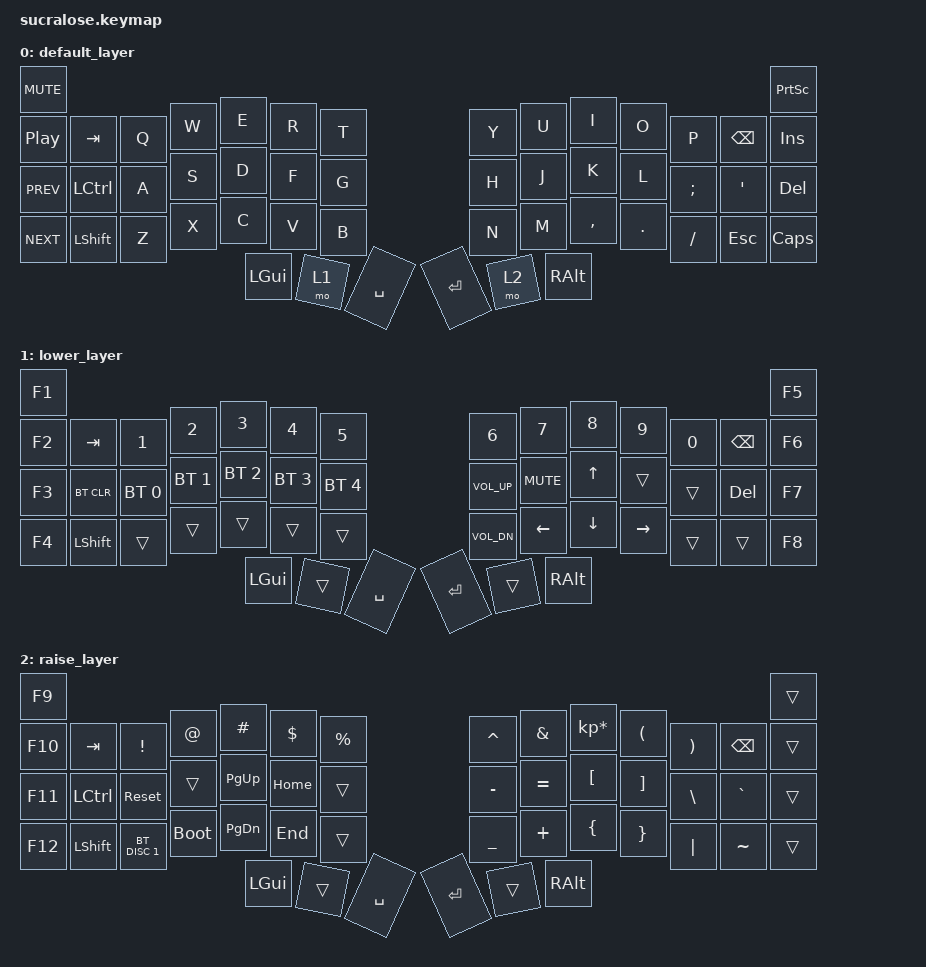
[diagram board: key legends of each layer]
/*
 * Copyright (c) 2026 The ZMK Contributors
 *
 * SPDX-License-Identifier: MIT
 */

#include <behaviors.dtsi>
#include <dt-bindings/zmk/keys.h>
#include <dt-bindings/zmk/bt.h>

/ {
        keymap {
                compatible = "zmk,keymap";

                default_layer {
// -----------------------------------------------------------------------------------------
// | MUTE |                                                                              | PSCR |
// | PLAY |  TAB |  Q  |  W  |  E  |  R  |  T  |   |  Y  |  U   |  I  |  O  |  P  | BKSP | INS  |
// | PREV | CTRL |  A  |  S  |  D  |  F  |  G  |   |  H  |  J   |  K  |  L  |  ;  |  '   | DEL  |
// | NEXT | SHFT |  Z  |  X  |  C  |  V  |  B  |   |  N  |  M   |  ,  |  .  |  /  | ESC  | CAPS |
//                           | GUI | LWR | SPC |   | ENT | RSE  | ALT |
// The outer column is the breakaway strip: nothing lives only there, so the
// other 42 keys stay complete on a snapped board.
                        bindings = <
   &kp C_MUTE                                                                                            &kp PSCRN
   &kp C_PP   &kp TAB   &kp Q &kp W &kp E &kp R &kp T   &kp Y &kp U  &kp I     &kp O   &kp P    &kp BSPC &kp INS
   &kp C_PREV &kp LCTRL &kp A &kp S &kp D &kp F &kp G   &kp H &kp J  &kp K     &kp L   &kp SEMI &kp SQT  &kp DEL
   &kp C_NEXT &kp LSHFT &kp Z &kp X &kp C &kp V &kp B   &kp N &kp M  &kp COMMA &kp DOT &kp FSLH &kp ESC  &kp CAPS
                                &kp LGUI &mo 1 &kp SPACE   &kp RET &mo 2 &kp RALT
                        >;
                };
                lower_layer {
// -----------------------------------------------------------------------------------------
// |  F1  |                                                                             |  F5  |
// |  F2  |  TAB |  1  |  2  |  3  |  4  |  5  |   |  6  |  7  |  8  |  9  |  0  | BKSP |  F6  |
// |  F3  | BTCLR| BT1 | BT2 | BT3 | BT4 | BT5 |   |VOLUP| MUTE|  UP |     |     | DEL  |  F7  |
// |  F4  | SHFT |     |     |     |     |     |   |VOLDN| LFT | DWN | RGT |     |      |  F8  |
//                           | GUI |     | SPC |   | ENT |     | ALT |
                        bindings = <
   &kp F1                                                                                                                                          &kp F5
   &kp F2 &kp TAB    &kp N1       &kp N2       &kp N3       &kp N4       &kp N5         &kp N6       &kp N7     &kp N8   &kp N9    &kp N0 &kp BSPC &kp F6
   &kp F3 &bt BT_CLR &bt BT_SEL 0 &bt BT_SEL 1 &bt BT_SEL 2 &bt BT_SEL 3 &bt BT_SEL 4   &kp C_VOL_UP &kp C_MUTE &kp UP   &trans    &trans &kp DEL  &kp F7
   &kp F4 &kp LSHFT  &trans       &trans       &trans       &trans       &trans         &kp C_VOL_DN &kp LEFT   &kp DOWN &kp RIGHT &trans &trans   &kp F8
                                              &kp LGUI     &trans       &kp SPACE      &kp RET  &trans   &kp RALT
                        >;
                };

                raise_layer {
// -----------------------------------------------------------------------------------------
// |  F9  |                                                                             |      |
// | F10  |  TAB |  !  |  @  |  #  |  $  |  %  |   |  ^  |  &  |  *  |  (  |  )  | BKSP |      |
// | F11  | CTRL |RESET|     |PG UP| HOME|     |   |  -  |  =  |  [  |  ]  |  \  |  `   |      |
// | F12  | SHFT |BTDC1|BOOT |PG DN| END |     |   |  _  |  +  |  {  |  }  | "|" |  ~   |      |
//                           | GUI |     | SPC |   | ENT |     | ALT |
// Sucralose has no reset button by default: RESET and BOOT stand in for the
// XIAO's own (double-tap) button.
                        bindings = <
   &kp F9                                                                                                                                   &trans
   &kp F10 &kp  TAB  &kp EXCL    &kp AT      &kp HASH  &kp DLLR &kp PRCNT   &kp CARET &kp AMPS  &kp KP_MULTIPLY &kp LPAR &kp RPAR &kp BSPC  &trans
   &kp F11 &kp LCTRL &sys_reset  &trans      &kp PG_UP &kp HOME &trans      &kp MINUS &kp EQUAL &kp LBKT        &kp RBKT &kp BSLH &kp GRAVE &trans
   &kp F12 &kp LSHFT &bt BT_DISC 1 &bootloader &kp PG_DN &kp END  &trans    &kp UNDER &kp PLUS  &kp LBRC        &kp RBRC &kp PIPE &kp TILDE &trans
                                        &kp LGUI &trans   &kp SPACE       &kp RET   &trans    &kp RALT
                        >;
                };
        };
};
